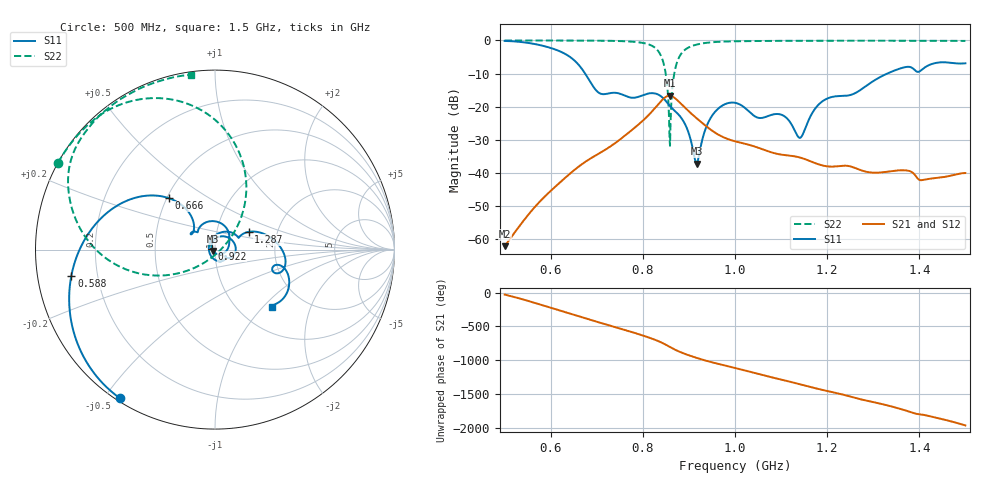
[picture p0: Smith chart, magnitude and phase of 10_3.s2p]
! TOUCHSTONE file generated by CST MICROWAVE STUDIO
! Date and time: Fri Oct  2 16:39:41 2020
! Project name: Scenario_1_Free_Space_out_of_line.cst
! Parameters = {Lambda=346.42; Step_1=17.321; dy1=191.571; dx1=520; L_HA=400; MT=2.54; Rad_Dielectric=30; Rad_Lower=7.3; Rad_Upper=30; a_HA=580; a_WG=246; b_HA=500; b_WG=121; c_HA=0; c_WG=187; d_feed=85; h_feed=15; h_lower=18; h_upper=40}
! Header version: 2018
! Port assignment regex: !\s*Touchstone port\s*([0-9]+)\s*=\s*(CST MWS port|CST DS port)\s*([0-9]+|Zmin|Zmax)\s*\(\"(.*)\"\)(\s*mode\s*([0-9]+))?.*
! Touchstone port assignment:
! Touchstone port 1 = CST MWS port 1 ("")
! Touchstone port 2 = CST MWS port 2 ("")
# GHz S DB R 50
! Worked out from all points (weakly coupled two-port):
!   1003 points, 500 MHz to 1.5 GHz, reference 50 ohm
!   highest |S21| = -16.69 dB at 858 MHz (marker M1); lowest = -62.0 dB at 500 MHz (marker M2)
!   lowest |S11| = -37.1 dB at 917 MHz (marker M3), VSWR 1.03, Z = 48.8 - j0.69 ohm
!   |S11| at or under -10 dB: 674.8 MHz to 1.33 GHz (655.4 MHz wide, 65.4 % of centre)
!   |S22| runs from -31.8 to 0.0 dB; largest |S21 - S12| = 4.8e-06
!   S11 on the Smith chart (normalised r, x): 500 MHz: 0.01, -0.55; 588 MHz: 0.10, -0.09; 666 MHz: 0.51, +0.34; 922 MHz: 0.96, +0.01; 1.287 GHz: 1.43, +0.29; 1.5 GHz: 1.41, -1.13
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0.5  -0.15 -122.6  -62.03 -29.3  -62.03 -29.3  -0.01 151.1
0.588  -1.79 -169.7  -46.96 160.9  -46.95 160.9  -0.02 145.0
0.666  -8.26 132.0  -37.49 -0.2  -37.49 -0.2  -0.04 138.4
0.667  -8.44 131.3  -37.39 -2.3  -37.39 -2.3  -0.05 138.3
0.709  -16.09 140.1  -33.74 -89.5  -33.74 -89.5  -0.08 133.7
0.788  -17.10 133.1  -25.65 110.9  -25.65 110.9  -0.51 117.9
0.834  -16.36 79.6  -19.16 0.5  -19.16 0.5  -3.33 86.2
0.847  -17.80 56.3  -17.31 -41.5  -17.31 -41.5  -8.06 63.8
0.858  -19.62 39.5  -16.69 -82.2  -16.69 -82.2  -29.85 -0.3
0.862  -20.24 34.2  -16.79 -97.1  -16.79 -97.1  -18.38 -134.1
0.868  -21.06 25.9  -17.23 -118.7  -17.23 -118.7  -10.15 -152.6
0.877  -22.28 11.3  -18.31 -147.9  -18.31 -147.9  -5.56 -168.9
0.917  -37.14 -149.4  -23.49 112.9  -23.50 112.9  -1.24 159.7
0.922  -34.52 162.6  -24.09 102.3  -24.09 102.3  -1.08 157.7
0.951  -22.54 72.6  -27.28 46.5  -27.28 46.5  -0.54 149.1
1  -18.80 -4.7  -30.41 -35.4  -30.41 -35.4  -0.26 140.3
1.104  -22.59 -60.0  -34.49 146.8  -34.49 146.8  -0.12 129.3
1.14  -29.36 -168.0  -35.26 83.2  -35.26 83.2  -0.11 126.3
1.167  -22.05 89.0  -36.61 35.7  -36.61 35.7  -0.09 124.2
1.287  -13.48 27.8  -39.65 -161.2  -39.66 -161.2  -0.08 115.0
1.334  -9.76 10.7  -39.51 125.1  -39.51 125.1  -0.09 111.4
1.5  -6.89 -45.1  -39.98 -166.2  -39.98 -166.2  -0.15 97.9
